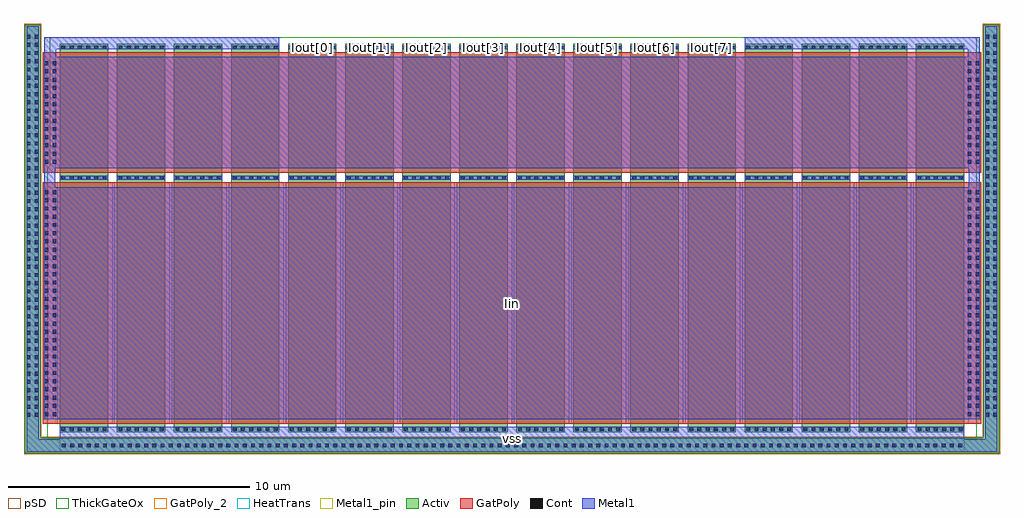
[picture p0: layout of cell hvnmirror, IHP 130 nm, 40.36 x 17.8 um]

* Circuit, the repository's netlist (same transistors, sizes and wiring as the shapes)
** sch_path: /home/cmaier/EDA/PUDDING/xschem/hvnmirror.sch
.subckt hvnmirror VSS Iin Iout[0] Iout[1] Iout[2] Iout[3] Iout[4] Iout[5] Iout[6] Iout[7]
*.PININFO VSS:B Iin:B Iout[0]:B Iout[1]:B Iout[2]:B Iout[3]:B Iout[4]:B Iout[5]:B Iout[6]:B Iout[7]:B
M2[7] vd_in[7] Iin VSS VSS sg13_hv_nmos w=2u l=10u ng=1 m=1
M2[6] vd_in[6] Iin VSS VSS sg13_hv_nmos w=2u l=10u ng=1 m=1
M2[5] vd_in[5] Iin VSS VSS sg13_hv_nmos w=2u l=10u ng=1 m=1
M2[4] vd_in[4] Iin VSS VSS sg13_hv_nmos w=2u l=10u ng=1 m=1
M2[3] vd_in[3] Iin VSS VSS sg13_hv_nmos w=2u l=10u ng=1 m=1
M2[2] vd_in[2] Iin VSS VSS sg13_hv_nmos w=2u l=10u ng=1 m=1
M2[1] vd_in[1] Iin VSS VSS sg13_hv_nmos w=2u l=10u ng=1 m=1
M2[0] vd_in[0] Iin VSS VSS sg13_hv_nmos w=2u l=10u ng=1 m=1
M3 vd_0 Iin VSS VSS sg13_hv_nmos w=2u l=10u ng=1 m=1
M1[7] Iin Iin vd_in[7] VSS sg13_hv_nmos w=2u l=5u ng=1 m=1
M1[6] Iin Iin vd_in[6] VSS sg13_hv_nmos w=2u l=5u ng=1 m=1
M1[5] Iin Iin vd_in[5] VSS sg13_hv_nmos w=2u l=5u ng=1 m=1
M1[4] Iin Iin vd_in[4] VSS sg13_hv_nmos w=2u l=5u ng=1 m=1
M1[3] Iin Iin vd_in[3] VSS sg13_hv_nmos w=2u l=5u ng=1 m=1
M1[2] Iin Iin vd_in[2] VSS sg13_hv_nmos w=2u l=5u ng=1 m=1
M1[1] Iin Iin vd_in[1] VSS sg13_hv_nmos w=2u l=5u ng=1 m=1
M1[0] Iin Iin vd_in[0] VSS sg13_hv_nmos w=2u l=5u ng=1 m=1
M4 Iout[0] Iin vd_0 VSS sg13_hv_nmos w=2u l=5u ng=1 m=1
M5 vd_1 Iin VSS VSS sg13_hv_nmos w=2u l=10u ng=1 m=1
M6 Iout[1] Iin vd_1 VSS sg13_hv_nmos w=2u l=5u ng=1 m=1
M7 vd_2 Iin VSS VSS sg13_hv_nmos w=2u l=10u ng=1 m=1
M8 Iout[2] Iin vd_2 VSS sg13_hv_nmos w=2u l=5u ng=1 m=1
M9 vd_3 Iin VSS VSS sg13_hv_nmos w=2u l=10u ng=1 m=1
M10 Iout[3] Iin vd_3 VSS sg13_hv_nmos w=2u l=5u ng=1 m=1
M11 vd_4 Iin VSS VSS sg13_hv_nmos w=2u l=10u ng=1 m=1
M12 Iout[4] Iin vd_4 VSS sg13_hv_nmos w=2u l=5u ng=1 m=1
M13 vd_5 Iin VSS VSS sg13_hv_nmos w=2u l=10u ng=1 m=1
M14 Iout[5] Iin vd_5 VSS sg13_hv_nmos w=2u l=5u ng=1 m=1
M15 vd_6 Iin VSS VSS sg13_hv_nmos w=2u l=10u ng=1 m=1
M16 Iout[6] Iin vd_6 VSS sg13_hv_nmos w=2u l=5u ng=1 m=1
M17 vd_7 Iin VSS VSS sg13_hv_nmos w=2u l=10u ng=1 m=1
M18 Iout[7] Iin vd_7 VSS sg13_hv_nmos w=2u l=5u ng=1 m=1
.ends

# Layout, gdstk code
from math import pi, radians
import gdstk
lib = gdstk.Library(unit=1e-6, precision=1e-09)
def R(c, l, rs):  # rectangles x0, y0, x1, y1
    for r in rs: c.add(gdstk.rectangle(r[:2], r[2:], *l))
def A(c, l, x, y, w, h, nx, ny, dx, dy):  # array of equal rectangles
    R(c, l, [(x+i*dx, y+j*dy, x+i*dx+w, y+j*dy+h) for i in range(nx) for j in range(ny)])
Activ = (1, 0)
GatPoly = (5, 0)
GatPoly_2 = (5, 2)
Cont = (6, 0)
Metal1 = (8, 0)
Metal1_pin = (8, 2)
pSD = (14, 0)
ThickGateOx = (44, 0)
HeatTrans = (51, 0)

nmoshv_1 = lib.new_cell('nmosHV$1')
R(nmoshv_1, Activ, [(0,0,0.3,0.3), (0,0,10.68,2), (10.38,0,10.68,0.3)])
R(nmoshv_1, GatPoly, [(0.34,-0.1,10.34,2.18)])
R(nmoshv_1, GatPoly_2, [(0.34,-0.18,10.34,2.18)])
A(nmoshv_1, Cont, 0.07, 0.07, 0.16, 0.16, 1, 6, 0, 0.34)
A(nmoshv_1, Cont, 10.45, 0.07, 0.16, 0.16, 1, 6, 0, 0.34)
R(nmoshv_1, Metal1, [(0.07,0,0.23,2), (10.45,0,10.61,2)])
R(nmoshv_1, Metal1_pin, [(0.07,0,0.23,2), (10.45,0,10.61,2)])
R(nmoshv_1, ThickGateOx, [(-0.27,-0.52,10.95,2.52)])
R(nmoshv_1, HeatTrans, [(0.34,-0.1,10.34,2.18)])
nmoshv_1.add(gdstk.Label('nmosHV', (5.34,1), layer=63, texttype=0))
nmoshv_1.add(gdstk.Label('nmosHV', (5.34,1), layer=51, texttype=0))

nmoshv_2 = lib.new_cell('nmosHV$2')
R(nmoshv_2, Activ, [(0,0,0.3,0.3), (0,0,5.68,2), (5.38,0,5.68,0.3)])
R(nmoshv_2, GatPoly, [(0.34,-0.18,5.34,2.18)])
R(nmoshv_2, GatPoly_2, [(0.34,-0.18,5.34,2.18)])
A(nmoshv_2, Cont, 0.07, 0.07, 0.16, 0.16, 1, 6, 0, 0.34)
A(nmoshv_2, Cont, 5.45, 0.07, 0.16, 0.16, 1, 6, 0, 0.34)
R(nmoshv_2, Metal1, [(0.07,0,0.23,2), (5.45,0,5.61,2)])
R(nmoshv_2, Metal1_pin, [(0.07,0,0.23,2), (5.45,0,5.61,2)])
R(nmoshv_2, ThickGateOx, [(-0.27,-0.405,5.95,2.52)])
R(nmoshv_2, HeatTrans, [(0.34,-0.18,5.34,2.18)])
nmoshv_2.add(gdstk.Label('nmosHV', (2.84,1), layer=63, texttype=0))
nmoshv_2.add(gdstk.Label('nmosHV', (2.84,1), layer=51, texttype=0))

hvncasc = lib.new_cell('hvncasc')
hvncasc.add(gdstk.Reference(nmoshv_1, (0,0), rotation=pi/2, x_reflection=True))
hvncasc.add(gdstk.Reference(nmoshv_2, (0,10.38), rotation=pi/2, x_reflection=True))

feol_contacts_1 = lib.new_cell('FEOL$contacts$1')
A(feol_contacts_1, Cont, 0.09, 0, 0.16, 0.16, 110, 1, 0.34, 0)
R(feol_contacts_1, Metal1, [(0,0,37.4,0.16)])

feol_contacts_3 = lib.new_cell('FEOL$contacts$3')
A(feol_contacts_3, Cont, 0.13, 0, 0.16, 0.16, 28, 2, 0.34, 0.34)
R(feol_contacts_3, Metal1, [(0,0,9.6,0.5)])

feol_contacts = lib.new_cell('FEOL$contacts')
A(feol_contacts, Cont, 0.18, 0, 0.16, 0.16, 13, 2, 0.34, 0.34)
R(feol_contacts, Metal1, [(0,0,4.6,0.5)])

feol_contacts_1_1 = lib.new_cell('FEOL$contacts$1$1')
A(feol_contacts_1_1, Cont, 0.1, 0, 0.16, 0.16, 47, 2, 0.34, 0.34)
R(feol_contacts_1_1, Metal1, [(0,0,16,0.5)])

hvnmirror = lib.new_cell('hvnmirror')
R(hvnmirror, Metal1, [(-0.64,0.54,38.04,10.14), (-0.64,10.92,38.04,15.52)])
A(hvnmirror, Metal1_pin, 9.44, 15.83, 2, 0.16, 8, 1, 2.36, 0)
R(hvnmirror, Metal1_pin, [(0,-0.8,37.4,0.23), (-0.64,0.54,38.04,10.14)])
hvnmirror.add(gdstk.FlexPath([(-1.12,16.79),(-1.12,-0.55),(38.52,-0.55),(38.52,16.79)], 0.5, ends="flush", simple_path=True, layer=8, datatype=0))  # Metal1
hvnmirror.add(gdstk.FlexPath([(-0.41,0.54),(-0.41,15.52)], 0.46, ends="flush", simple_path=True, layer=8, datatype=0))  # Metal1
hvnmirror.add(gdstk.FlexPath([(37.81,0.54),(37.81,15.52)], 0.46, ends="flush", simple_path=True, layer=8, datatype=0))  # Metal1
hvnmirror.add(gdstk.FlexPath([(28.32,16.08),(37.79,16.08),(37.79,10.92)], 0.5, ends="flush", simple_path=True, layer=8, datatype=0))  # Metal1
hvnmirror.add(gdstk.FlexPath([(9.08,16.08),(-0.39,16.08),(-0.39,10.92)], 0.5, ends="flush", simple_path=True, layer=8, datatype=0))  # Metal1
hvnmirror.add(gdstk.FlexPath([(0,-0.275),(37.4,-0.275)], 1.01, ends="flush", simple_path=True, layer=8, datatype=0))  # Metal1
hvnmirror.add(gdstk.FlexPath([(-1.12,16.86),(-1.12,-0.55),(38.52,-0.55),(38.52,16.86)], 0.65, ends="flush", simple_path=True, layer=1, datatype=0))  # Activ
hvnmirror.add(gdstk.FlexPath([(-0.71,5.34),(38.11,5.34)], 10, ends="flush", simple_path=True, layer=5, datatype=0))  # GatPoly
hvnmirror.add(gdstk.FlexPath([(-0.71,13.22),(38.11,13.22)], 5, ends="flush", simple_path=True, layer=5, datatype=0))  # GatPoly
hvnmirror.add(gdstk.FlexPath([(-1.12,16.89),(-1.12,-0.55),(38.52,-0.55),(38.52,16.89)], 0.72, ends="flush", simple_path=True, layer=14, datatype=0))  # pSD
r = gdstk.Reference(hvncasc, (0,0)); r.repetition = gdstk.Repetition(16, 1, v1=(2.36,0), v2=(0,0)); hvnmirror.add(r)
hvnmirror.add(gdstk.Reference(feol_contacts_1, (0,-0.63)))
hvnmirror.add(gdstk.Reference(feol_contacts_3, (-0.14,0.54), rotation=pi/2))
hvnmirror.add(gdstk.Reference(feol_contacts_3, (37.54,0.54), rotation=pi/2, x_reflection=True))
hvnmirror.add(gdstk.Reference(feol_contacts, (-0.14,10.92), rotation=pi/2))
hvnmirror.add(gdstk.Reference(feol_contacts, (37.54,10.92), rotation=pi/2, x_reflection=True))
hvnmirror.add(gdstk.Reference(feol_contacts_1_1, (38.27,0.54), rotation=pi/2, x_reflection=True))
hvnmirror.add(gdstk.Reference(feol_contacts_1_1, (-0.875,0.54), rotation=pi/2))
hvnmirror.add(gdstk.Label('vss', (18.7,-0.275), layer=8, texttype=25))
hvnmirror.add(gdstk.Label('Iin', (18.7,5.34), layer=8, texttype=25))
hvnmirror.add(gdstk.Label('Iout[0]', (10.44,15.91), layer=8, texttype=25))
hvnmirror.add(gdstk.Label('Iout[1]', (12.8,15.91), layer=8, texttype=25))
hvnmirror.add(gdstk.Label('Iout[2]', (15.16,15.91), layer=8, texttype=25))
hvnmirror.add(gdstk.Label('Iout[3]', (17.52,15.91), layer=8, texttype=25))
hvnmirror.add(gdstk.Label('Iout[4]', (19.88,15.91), layer=8, texttype=25))
hvnmirror.add(gdstk.Label('Iout[5]', (22.24,15.91), layer=8, texttype=25))
hvnmirror.add(gdstk.Label('Iout[6]', (24.6,15.91), layer=8, texttype=25))
hvnmirror.add(gdstk.Label('Iout[7]', (26.96,15.91), layer=8, texttype=25))

lib.write_gds('hvnmirror.gds')
